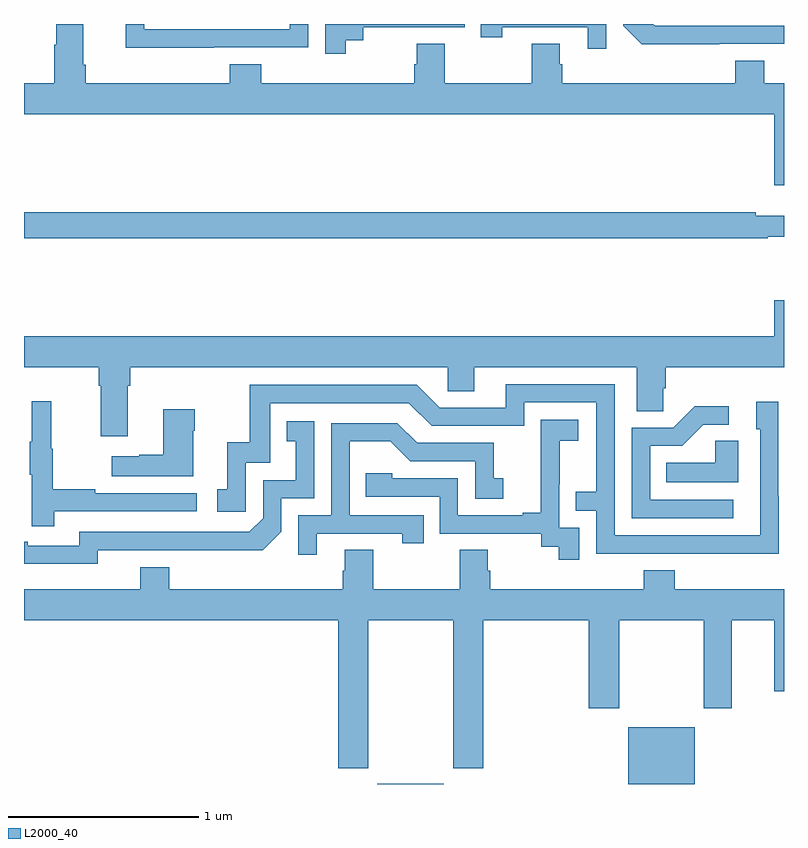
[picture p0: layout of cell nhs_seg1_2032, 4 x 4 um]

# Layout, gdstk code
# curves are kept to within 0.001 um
import gdstk
lib = gdstk.Library(unit=1e-6, precision=1e-09)
def R(c, l, rs):  # rectangles x0, y0, x1, y1
    for r in rs: c.add(gdstk.rectangle(r[:2], r[2:], *l))
def P(c, l, *ps):  # polygons
    for p in ps: c.add(gdstk.Polygon(p, *l))
L2000_40 = (2000, 40)

nhs_seg1_2032 = lib.new_cell('nhs_seg1_2032')
R(nhs_seg1_2032, L2000_40, [(222.86,556.199,223.21,556.201), (224.18,556.199,224.53,556.498)])
P(nhs_seg1_2032, L2000_40, [(222.694,560.113),(222.786,560.113),(222.786,560.181),(223.32,560.181),(223.32,560.199),(222.585,560.199),(222.585,560.043),(222.694,560.043)],
  [(224.66,560.094),(225,560.094),(225,560.19),(224.322,560.19),(224.313,560.199),(224.154,560.199),(224.154,560.19),(224.252,560.093),(224.66,560.093)],
  [(221.999,560.076),(222.495,560.076),(222.495,560.199),(222.399,560.199),(222.399,560.172),(221.634,560.172),(221.634,560.199),(221.536,560.199),(221.536,560.075),(221.999,560.075)],
  [(224.064,560.199),(223.405,560.199),(223.405,560.13),(223.516,560.13),(223.516,560.181),(223.967,560.181),(223.967,560.07),(224.064,560.07)],
  [(225,559.888),(224.896,559.888),(224.896,560.005),(224.744,560.005),(224.744,559.888),(223.832,559.888),(223.832,559.986),(223.819,559.986),(223.819,560.096),(223.672,560.096),(223.672,559.888),(223.215,559.888),(223.215,560.096),(223.067,560.096),(223.067,559.986),(223.055,559.986),(223.055,559.888),(222.248,559.888),(222.248,559.987),(222.083,559.987),(222.083,559.888),(221.324,559.888),(221.324,559.984),(221.311,559.984),(221.311,560.197),(221.171,560.197),(221.171,560.09),(221.159,560.09),(221.159,559.888),(221,559.888),(221,559.724),(224.948,559.724),(224.948,559.35),(225,559.35)],
  [(224.914,559.08),(225,559.08),(225,559.189),(224.852,559.189),(224.852,559.208),(221,559.208),(221,559.072),(224.914,559.072)],
  [(221,558.392),(221.393,558.392),(221.393,558.296),(221.405,558.296),(221.405,558.03),(221.545,558.03),(221.545,558.296),(221.558,558.296),(221.558,558.392),(223.23,558.392),(223.23,558.265),(223.369,558.265),(223.369,558.392),(224.225,558.392),(224.225,558.16),(224.364,558.16),(224.364,558.283),(224.378,558.283),(224.378,558.392),(225,558.392),(225,558.745),(224.948,558.745),(224.948,558.556),(221,558.556)],
  [(224.973,557.717),(224.97,557.717),(224.97,558.211),(224.855,558.211),(224.855,558.066),(224.874,558.066),(224.874,557.508),(224.109,557.508),(224.109,558.303),(223.535,558.303),(223.535,558.18),(223.188,558.18),(223.068,558.3),(222.189,558.3),(222.189,557.998),(222.071,557.998),(222.071,557.751),(222.018,557.751),(222.018,557.631),(222.168,557.631),(222.168,557.889),(222.297,557.889),(222.297,558.204),(223.026,558.204),(223.146,558.084),(223.632,558.084),(223.632,558.207),(224.013,558.207),(224.013,557.738),(223.903,557.738),(223.903,557.637),(224.013,557.637),(224.013,557.412),(224.973,557.411)],
  [(221.159,557.634),(221.908,557.634),(221.908,557.73),(221.375,557.73),(221.375,557.75),(221.152,557.75),(221.152,557.964),(221.144,557.964),(221.144,558.214),(221.042,558.214),(221.042,558.001),(221.031,558.001),(221.031,557.827),(221.042,557.827),(221.042,557.556),(221.159,557.556)],
  [(224.734,557.694),(224.295,557.694),(224.295,557.979),(224.464,557.979),(224.575,558.09),(224.71,558.09),(224.71,558.188),(224.531,558.188),(224.418,558.075),(224.199,558.075),(224.199,557.598),(224.734,557.598)],
  [(221.89,558.059),(221.898,558.059),(221.898,558.172),(221.732,558.172),(221.732,557.933),(221.606,557.933),(221.606,557.923),(221.463,557.923),(221.463,557.819),(221.89,557.819)],
  [(223.923,557.547),(223.818,557.547),(223.818,557.777),(223.82,557.777),(223.82,558.005),(223.918,558.005),(223.918,558.115),(223.72,558.115),(223.72,557.909),(223.721,557.909),(223.721,557.626),(223.625,557.626),(223.625,557.613),(223.284,557.613),(223.284,557.808),(222.939,557.808),(222.939,557.835),(222.799,557.835),(222.799,557.712),(223.188,557.712),(223.188,557.517),(223.722,557.517),(223.722,557.449),(223.815,557.449),(223.815,557.379),(223.923,557.379)],
  [(221.388,557.43),(222.256,557.429),(222.354,557.526),(222.354,557.703),(222.528,557.703),(222.528,558.109),(222.382,558.109),(222.382,558.003),(222.431,558.003),(222.431,557.799),(222.258,557.799),(222.258,557.598),(222.186,557.526),(221.292,557.526),(221.292,557.454),(221.02,557.454),(221.02,557.474),(221,557.474),(221,557.358),(221.388,557.357)],
  [(222.541,557.517),(222.992,557.517),(222.992,557.466),(223.103,557.466),(223.103,557.613),(222.714,557.613),(222.714,558.002),(222.928,558.002),(223.032,557.898),(223.374,557.898),(223.374,557.7),(223.522,557.7),(223.522,557.809),(223.473,557.809),(223.473,557.994),(223.069,557.994),(222.964,558.099),(222.618,558.099),(222.618,557.613),(222.444,557.613),(222.444,557.406),(222.541,557.406)],
  [(224.758,558.005),(224.637,558.005),(224.637,557.89),(224.38,557.89),(224.38,557.786),(224.758,557.786)],
  [(222.837,557.432),(222.689,557.432),(222.689,557.322),(222.677,557.322),(222.677,557.224),(221.765,557.224),(221.765,557.341),(221.612,557.341),(221.612,557.224),(221,557.224),(221,557.06),(222.653,557.06),(222.653,556.281),(222.813,556.281),(222.813,557.06),(223.258,557.06),(223.258,556.281),(223.418,556.281),(223.418,557.06),(223.973,557.06),(223.973,556.599),(224.133,556.599),(224.133,557.06),(224.578,557.06),(224.578,556.599),(224.725,556.599),(224.725,557.06),(224.948,557.06),(224.948,556.686),(225,556.686),(225,557.224),(224.426,557.224),(224.426,557.323),(224.261,557.323),(224.261,557.224),(223.454,557.224),(223.454,557.322),(223.441,557.322),(223.441,557.432),(223.294,557.432),(223.294,557.224),(222.837,557.224)])

lib.write_gds('nhs_seg1_2032.gds')
